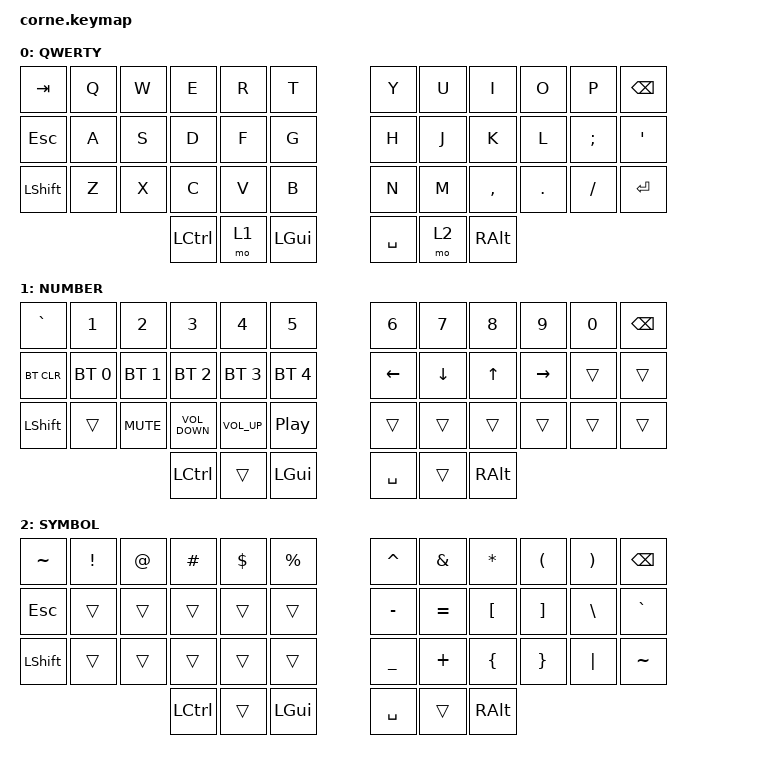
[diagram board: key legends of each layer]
/*
 * Copyright (c) 2020 The ZMK Contributors
 *
 * SPDX-License-Identifier: MIT
 */

#include <behaviors.dtsi>
#include <dt-bindings/zmk/keys.h>
#include <dt-bindings/zmk/bt.h>

/ {
        keymap {
                compatible = "zmk,keymap";

                default_layer {
                display-name = "QWERTY";

// -----------------------------------------------------------------------------------------
// |  TAB |  Q  |  W  |  E  |  R  |  T  |   |  Y  |  U   |  I  |  O  |  P  | BKSP |
// | ESC |  A  |  S  |  D  |  F  |  G  |   |  H  |  J   |  K  |  L  |  ;  |  '   |
// | SHFT |  Z  |  X  |  C  |  V  |  B  |   |  N  |  M   |  ,  |  .  |  /  | ENT  |
//                    | GUI | LWR | LCTRL |   | SPC | RSE  | ALT |
                        bindings = <
   &kp TAB   &kp Q &kp W &kp E &kp R &kp T   &kp Y &kp U  &kp I     &kp O   &kp P    &kp BKSP 
   &kp ESC   &kp A &kp S &kp D &kp F &kp G   &kp H &kp J  &kp K     &kp L   &kp SEMI &kp SQT
   &kp LSHFT &kp Z &kp X &kp C &kp V &kp B   &kp N &kp M  &kp COMMA &kp DOT &kp FSLH &kp RET
                  &kp LCTRL &mo 1 &kp LGUI   &kp SPACE &mo 2 &kp RALT
                        >;
                };
                lower_layer {
                display-name = "NUMBER";

// -----------------------------------------------------------------------------------------
// | ` |  1  |  2  |  3  |  4  |  5  |   |  6  |  7  |  8  |  9  |  0  | BKSP |
// | BTCLR| BT1 | BT2 | BT3 | BT4 | BT5 |   | LFT | DWN |  UP | RGT |     |      |
// | SHFT |     |     |     |     |     |   |     |     |     |     |     |      |
//                    | GUI |     | BKSP |   | SPC |     | ALT |
                        bindings = <
   &kp GRAVE &kp N1       &kp N2       &kp N3       &kp N4       &kp N5         &kp N6   &kp N7   &kp N8 &kp N9    &kp N0 &kp BKSP
   &bt BT_CLR &bt BT_SEL 0 &bt BT_SEL 1 &bt BT_SEL 2 &bt BT_SEL 3 &bt BT_SEL 4   &kp LEFT &kp DOWN &kp UP &kp RIGHT &trans &trans
   &kp LSHFT &trans &kp C_MUTE &kp C_VOLUME_DOWN &kp C_VOLUME_UP &kp C_PLAY_PAUSE   &trans   &trans   &trans  &trans  &trans  &trans
                                    &kp LCTRL &trans &kp LGUI &kp SPACE  &trans   &kp RALT
                        >;
                };

                raise_layer {
                display-name = "SYMBOL";

// -----------------------------------------------------------------------------------------
// |  ~ |  !  |  @  |  #  |  $  |  %  |   |  ^  |  &  |  *  |  (  |  )  | BKSP |
// |  ESC |     |     |     |     |     |   |  -  |  =  |  [  |  ]  |  \  |  `   |
// | SHFT |     |     |     |     |     |   |  _  |  +  |  {  |  }  | "|" |  ~   |
//                    | GUI |     | LCTRL |   | SPC |     | ALT |
                        bindings = <
   &kp TILDE  &kp EXCL &kp AT &kp HASH &kp DLLR &kp PRCNT   &kp CARET &kp AMPS  &kp ASTRK &kp LPAR &kp RPAR &kp BKSP
   &kp ESC  &trans   &trans &trans   &trans   &trans      &kp MINUS &kp EQUAL &kp LBKT  &kp RBKT &kp BSLH &kp GRAVE
   &kp LSHFT &trans   &trans &trans   &trans   &trans      &kp UNDER &kp PLUS  &kp LBRC  &kp RBRC &kp PIPE &kp TILDE
                             &kp LCTRL &trans   &kp LGUI   &kp SPACE   &trans    &kp RALT
                        >;
                };
        };
};
